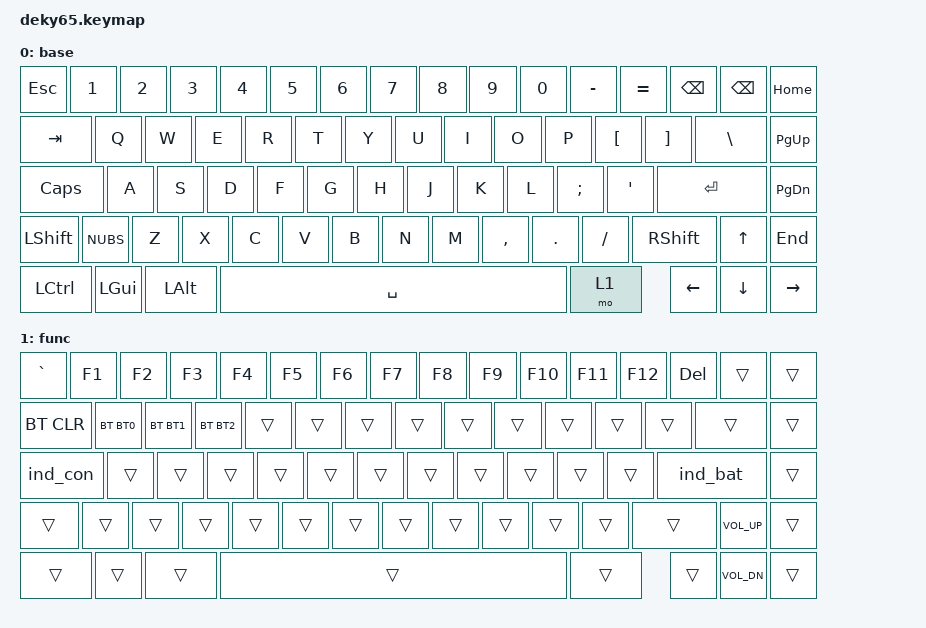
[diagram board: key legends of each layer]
/*
 * Copyright (c) 2025 Deemen17 Works
 *
 * SPDX-License-Identifier: MIT
 */

#include <behaviors.dtsi>
#include <dt-bindings/zmk/keys.h>
#include <dt-bindings/zmk/bt.h>

#include <behaviors/rgbled_widget.dtsi>

#define BT0 BT_SEL 0
#define BT1 BT_SEL 1
#define BT2 BT_SEL 2

//
// ---------- DEKY65 key switch positions ----------
//
// -------------------------------------------------------------------------------------------------------
// |  0  |  1  |  2  |  3  |  4  |  5  |  6  |  7  |  8  |  9  |  10  |  11  |  12  |  13  |  14  |  15  |
// -------------------------------------------------------------------------------------------------------
// |  16   |  17  |  18 |  19 |  20 |  21 |  22 |  23 |  24  |  24  |  26  |  27  |  28  |   29   |  30  | 
// -------------------------------------------------------------------------------------------------------
// |   31   |  32  |  33  |  34  |  35  |  36  |  37  |  38  |  39  |  40  |  41  |  42 |    43   |  44  | 
// -------------------------------------------------------------------------------------------------------
// |  45 | 46 |  47  |  48  |  49  |  50  |  51  |  52  |  53  |  54  |  55  |  56 |   57  |  58  |  59  |  
// -------------------------------------------------------------------------------------------------------
// |   60   |  61  |   62   |                       63                     |   64   |  65  |  66  |  67  |
// -------------------------------------------------------------------------------------------------------
//


/ {
    combos {
        compatible = "zmk,combos";

        // HOME + LCTRL + LALT = &sys_reset
        combo_sys_reset {
            timeout-ms = <100>;
            key-positions = <15 60 62>;
            bindings = <&sys_reset>;
        };

        // ENTER + LCTRL + LALT = &bootloader
        combo_bootloader {
            timeout-ms = <100>;
            key-positions = <43 60 62>;
            bindings = <&bootloader>;
        };
    };


    keymap {
        compatible = "zmk,keymap";

        base {
            bindings = <
&kp ESC   &kp N1   &kp N2  &kp N3  &kp N4  &kp N5  &kp N6  &kp N7  &kp N8  &kp N9    &kp N0   &kp MINUS &kp EQUAL &kp BSPC  &kp BSPC &kp HOME
&kp TAB   &kp Q    &kp W   &kp E   &kp R   &kp T   &kp Y   &kp U   &kp I   &kp O     &kp P    &kp LBKT  &kp RBKT  &kp BSLH           &kp PG_UP
&kp CLCK  &kp A    &kp S   &kp D   &kp F   &kp G   &kp H   &kp J   &kp K   &kp L     &kp SEMI &kp SQT             &kp ENTER          &kp PG_DN
&kp LSHFT &kp NUBS &kp Z   &kp X   &kp C   &kp V   &kp B   &kp N   &kp M   &kp COMMA &kp DOT  &kp FSLH  &kp RSHFT &kp UP             &kp END
&kp LCTRL &kp LGUI &kp LALT                                &kp SPACE                          &mo 1     &kp LEFT  &kp DOWN  &kp RIGHT
            >;
        };

        func {
            bindings = <
&kp GRAVE  &kp F1  &kp F2  &kp F3  &kp F4  &kp F5  &kp F6  &kp F7  &kp F8  &kp F9  &kp F10 &kp F11 &kp F12 &kp DEL &trans &trans
&bt BT_CLR &bt BT0 &bt BT1 &bt BT2 &trans  &trans  &trans  &trans  &trans  &trans  &trans  &trans  &trans  &trans         &trans
&ind_con   &trans  &trans  &trans  &trans  &trans  &trans  &trans  &trans  &trans  &trans  &trans          &ind_bat       &trans
&trans     &trans  &trans  &trans  &trans  &trans  &trans  &trans  &trans  &trans  &trans  &trans  &trans  &kp C_VOL_UP   &trans
&trans     &trans  &trans                                  &trans                          &trans  &trans  &kp C_VOL_DN   &trans
            >;
        };
    };
};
